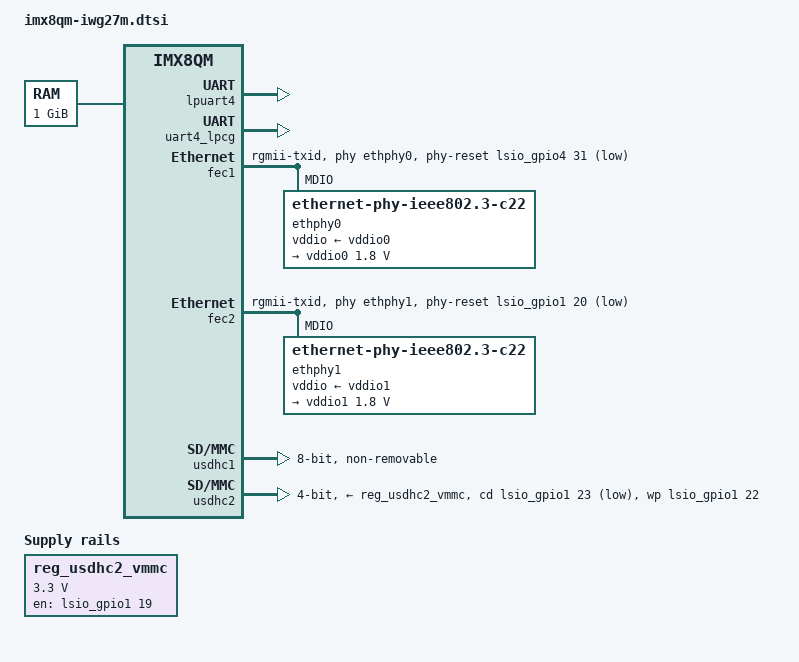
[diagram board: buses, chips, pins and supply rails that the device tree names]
// SPDX-License-Identifier: (GPL-2.0-or-later OR MIT)
/*
 * iWave iW-RainboW-G27M i.MX8QM SMARC SoM
 *
 * Copyright (c) 2024-25 iWave Systems Technologies Pvt. Ltd.
 * Copyright (c) 2026 Outsight
 */

/dts-v1/;

#include "imx8qm.dtsi"

/ {
	aliases {
		ethernet0 = &fec1;
		ethernet1 = &fec2;
		gpio0 = &lsio_gpio0;
		gpio1 = &lsio_gpio1;
		gpio2 = &lsio_gpio2;
		gpio3 = &lsio_gpio3;
		gpio4 = &lsio_gpio4;
		gpio5 = &lsio_gpio5;
		gpio6 = &lsio_gpio6;
		gpio7 = &lsio_gpio7;
		serial4 = &lpuart4;
	};

	chosen {
		stdout-path = &lpuart4;
	};

	/* Overwritten by U-Boot with the actual DRAM layout. */
	memory@80000000 {
		device_type = "memory";
		reg = <0x00000000 0x80000000 0 0x40000000>;
	};

	reg_usdhc2_vmmc: regulator-usdhc2-vmmc {
		compatible = "regulator-fixed";
		regulator-name = "SD1_SPWR";
		regulator-min-microvolt = <3300000>;
		regulator-max-microvolt = <3300000>;
		gpio = <&lsio_gpio1 19 GPIO_ACTIVE_HIGH>;
		off-on-delay-us = <4800>;
		enable-active-high;
	};
};

/* The debug console UART is not described by imx8qm.dtsi. */
&dma_subsys {
	lpuart4: serial@5a0a0000 {
		compatible = "fsl,imx8qm-lpuart", "fsl,imx8qxp-lpuart";
		reg = <0x5a0a0000 0x1000>;
		interrupts = <GIC_SPI 349 IRQ_TYPE_LEVEL_HIGH>;
		clocks = <&uart4_lpcg IMX_LPCG_CLK_4>,
			 <&uart4_lpcg IMX_LPCG_CLK_0>;
		clock-names = "ipg", "baud";
		assigned-clocks = <&clk IMX_SC_R_UART_4 IMX_SC_PM_CLK_PER>;
		assigned-clock-rates = <80000000>;
		power-domains = <&pd IMX_SC_R_UART_4>;
		status = "disabled";
	};

	uart4_lpcg: clock-controller@5a4a0000 {
		compatible = "fsl,imx8qxp-lpcg";
		reg = <0x5a4a0000 0x10000>;
		#clock-cells = <1>;
		clocks = <&clk IMX_SC_R_UART_4 IMX_SC_PM_CLK_PER>,
			 <&dma_ipg_clk>;
		clock-indices = <IMX_LPCG_CLK_0>, <IMX_LPCG_CLK_4>;
		clock-output-names = "uart4_lpcg_baud_clk",
				     "uart4_lpcg_ipg_clk";
		power-domains = <&pd IMX_SC_R_UART_4>;
	};
};

&fec1 {
	pinctrl-names = "default";
	pinctrl-0 = <&pinctrl_fec1>;
	phy-mode = "rgmii-txid";
	phy-handle = <&ethphy0>;
	phy-reset-gpios = <&lsio_gpio4 31 GPIO_ACTIVE_LOW>;
	phy-reset-duration = <10>;
	phy-reset-post-delay = <150>;
	rx-internal-delay-ps = <2000>;
	fsl,magic-packet;
	nvmem-cells = <&fec_mac0>;
	nvmem-cell-names = "mac-address";
	status = "okay";

	mdio {
		#address-cells = <1>;
		#size-cells = <0>;

		/* Atheros AR8031, address strapped differently across SoM revisions. */
		ethphy0: ethernet-phy {
			compatible = "ethernet-phy-ieee802.3-c22";
			qca,disable-smarteee;
			vddio-supply = <&vddio0>;

			vddio0: vddio-regulator {
				regulator-min-microvolt = <1800000>;
				regulator-max-microvolt = <1800000>;
			};
		};
	};
};

&fec2 {
	pinctrl-names = "default";
	pinctrl-0 = <&pinctrl_fec2>;
	phy-mode = "rgmii-txid";
	phy-handle = <&ethphy1>;
	phy-reset-gpios = <&lsio_gpio1 20 GPIO_ACTIVE_LOW>;
	phy-reset-duration = <10>;
	phy-reset-post-delay = <150>;
	rx-internal-delay-ps = <2000>;
	fsl,magic-packet;
	nvmem-cells = <&fec_mac1>;
	nvmem-cell-names = "mac-address";
	status = "okay";

	mdio {
		#address-cells = <1>;
		#size-cells = <0>;

		ethphy1: ethernet-phy {
			compatible = "ethernet-phy-ieee802.3-c22";
			qca,disable-smarteee;
			vddio-supply = <&vddio1>;

			vddio1: vddio-regulator {
				regulator-min-microvolt = <1800000>;
				regulator-max-microvolt = <1800000>;
			};
		};
	};
};

&lpuart4 {
	pinctrl-names = "default";
	pinctrl-0 = <&pinctrl_lpuart4>;
	status = "okay";
};

&usdhc1 {
	assigned-clocks = <&clk IMX_SC_R_SDHC_0 IMX_SC_PM_CLK_PER>;
	assigned-clock-rates = <400000000>;
	/* Without the 100/200 MHz states the driver refuses 1.8V modes (HS200/HS400). */
	pinctrl-names = "default", "state_100mhz", "state_200mhz";
	pinctrl-0 = <&pinctrl_usdhc1>;
	pinctrl-1 = <&pinctrl_usdhc1>;
	pinctrl-2 = <&pinctrl_usdhc1>;
	bus-width = <8>;
	no-sd;
	no-sdio;
	non-removable;
	status = "okay";
};

&usdhc2 {
	pinctrl-names = "default", "state_100mhz", "state_200mhz";
	pinctrl-0 = <&pinctrl_usdhc2>, <&pinctrl_usdhc2_gpio>;
	pinctrl-1 = <&pinctrl_usdhc2>, <&pinctrl_usdhc2_gpio>;
	pinctrl-2 = <&pinctrl_usdhc2>, <&pinctrl_usdhc2_gpio>;
	bus-width = <4>;
	vmmc-supply = <&reg_usdhc2_vmmc>;
	cd-gpios = <&lsio_gpio1 23 GPIO_ACTIVE_LOW>;
	wp-gpios = <&lsio_gpio1 22 GPIO_ACTIVE_HIGH>;
	status = "okay";
};

&iomuxc {
	pinctrl_fec1: fec1grp {
		fsl,pins = <
			IMX8QM_COMP_CTL_GPIO_1V8_3V3_ENET_ENETB_PAD		0x000014a0
			IMX8QM_ENET0_MDC_CONN_ENET0_MDC				0x06000020
			IMX8QM_ENET0_MDIO_CONN_ENET0_MDIO			0x06000020
			IMX8QM_ENET0_RGMII_TX_CTL_CONN_ENET0_RGMII_TX_CTL	0x06000020
			IMX8QM_ENET0_RGMII_TXC_CONN_ENET0_RGMII_TXC		0x06000020
			IMX8QM_ENET0_RGMII_TXD0_CONN_ENET0_RGMII_TXD0		0x06000020
			IMX8QM_ENET0_RGMII_TXD1_CONN_ENET0_RGMII_TXD1		0x06000020
			IMX8QM_ENET0_RGMII_TXD2_CONN_ENET0_RGMII_TXD2		0x06000020
			IMX8QM_ENET0_RGMII_TXD3_CONN_ENET0_RGMII_TXD3		0x06000020
			IMX8QM_ENET0_RGMII_RXC_CONN_ENET0_RGMII_RXC		0x06000020
			IMX8QM_ENET0_RGMII_RX_CTL_CONN_ENET0_RGMII_RX_CTL	0x06000020
			IMX8QM_ENET0_RGMII_RXD0_CONN_ENET0_RGMII_RXD0		0x06000020
			IMX8QM_ENET0_RGMII_RXD1_CONN_ENET0_RGMII_RXD1		0x06000020
			IMX8QM_ENET0_RGMII_RXD2_CONN_ENET0_RGMII_RXD2		0x06000020
			IMX8QM_ENET0_RGMII_RXD3_CONN_ENET0_RGMII_RXD3		0x06000020
			IMX8QM_PCIE_CTRL0_CLKREQ_B_LSIO_GPIO4_IO27		0x06000021
			IMX8QM_PCIE_CTRL1_CLKREQ_B_LSIO_GPIO4_IO30		0x06000021
			IMX8QM_PCIE_CTRL1_WAKE_B_LSIO_GPIO4_IO31		0x06000021
		>;
	};

	pinctrl_fec2: fec2grp {
		fsl,pins = <
			IMX8QM_ENET1_MDC_CONN_ENET1_MDC				0x06000020
			IMX8QM_ENET1_MDIO_CONN_ENET1_MDIO			0x06000020
			IMX8QM_COMP_CTL_GPIO_1V8_3V3_ENET_ENETA_PAD		0x000014a0
			IMX8QM_ENET1_RGMII_TX_CTL_CONN_ENET1_RGMII_TX_CTL	0x00000060
			IMX8QM_ENET1_RGMII_TXC_CONN_ENET1_RGMII_TXC		0x00000060
			IMX8QM_ENET1_RGMII_TXD0_CONN_ENET1_RGMII_TXD0		0x00000060
			IMX8QM_ENET1_RGMII_TXD1_CONN_ENET1_RGMII_TXD1		0x00000060
			IMX8QM_ENET1_RGMII_TXD2_CONN_ENET1_RGMII_TXD2		0x00000060
			IMX8QM_ENET1_RGMII_TXD3_CONN_ENET1_RGMII_TXD3		0x00000060
			IMX8QM_ENET1_RGMII_RXC_CONN_ENET1_RGMII_RXC		0x00000060
			IMX8QM_ENET1_RGMII_RX_CTL_CONN_ENET1_RGMII_RX_CTL	0x00000060
			IMX8QM_ENET1_RGMII_RXD0_CONN_ENET1_RGMII_RXD0		0x00000060
			IMX8QM_ENET1_RGMII_RXD1_CONN_ENET1_RGMII_RXD1		0x00000060
			IMX8QM_ENET1_RGMII_RXD2_CONN_ENET1_RGMII_RXD2		0x00000060
			IMX8QM_ENET1_RGMII_RXD3_CONN_ENET1_RGMII_RXD3		0x00000060
			IMX8QM_MIPI_DSI1_I2C0_SCL_LSIO_GPIO1_IO20		0x06000021
			IMX8QM_MIPI_DSI0_I2C0_SCL_LSIO_GPIO1_IO16		0x06000021
			IMX8QM_MIPI_DSI0_I2C0_SDA_LSIO_GPIO1_IO17		0x06000021
		>;
	};

	pinctrl_lpuart4: lpuart4grp {
		fsl,pins = <
			IMX8QM_M40_GPIO0_00_DMA_UART4_RX			0x06000020
			IMX8QM_M40_GPIO0_01_DMA_UART4_TX			0x06000020
		>;
	};

	pinctrl_usdhc1: usdhc1grp {
		fsl,pins = <
			IMX8QM_EMMC0_CLK_CONN_EMMC0_CLK				0x06000041
			IMX8QM_EMMC0_CMD_CONN_EMMC0_CMD				0x00000021
			IMX8QM_EMMC0_DATA0_CONN_EMMC0_DATA0			0x00000021
			IMX8QM_EMMC0_DATA1_CONN_EMMC0_DATA1			0x00000021
			IMX8QM_EMMC0_DATA2_CONN_EMMC0_DATA2			0x00000021
			IMX8QM_EMMC0_DATA3_CONN_EMMC0_DATA3			0x00000021
			IMX8QM_EMMC0_DATA4_CONN_EMMC0_DATA4			0x00000021
			IMX8QM_EMMC0_DATA5_CONN_EMMC0_DATA5			0x00000021
			IMX8QM_EMMC0_DATA6_CONN_EMMC0_DATA6			0x00000021
			IMX8QM_EMMC0_DATA7_CONN_EMMC0_DATA7			0x00000021
			IMX8QM_EMMC0_STROBE_CONN_EMMC0_STROBE			0x00000041
			IMX8QM_EMMC0_RESET_B_CONN_EMMC0_RESET_B			0x00000021
		>;
	};

	pinctrl_usdhc2_gpio: usdhc2gpiogrp {
		fsl,pins = <
			IMX8QM_MIPI_DSI1_GPIO0_00_LSIO_GPIO1_IO22		0x00000021
			IMX8QM_MIPI_DSI1_GPIO0_01_LSIO_GPIO1_IO23		0x00000021
			IMX8QM_MIPI_DSI0_GPIO0_01_LSIO_GPIO1_IO19		0x00000021
		>;
	};

	pinctrl_usdhc2: usdhc2grp {
		fsl,pins = <
			IMX8QM_USDHC1_CLK_CONN_USDHC1_CLK			0x06000041
			IMX8QM_USDHC1_CMD_CONN_USDHC1_CMD			0x00000021
			IMX8QM_USDHC1_DATA0_CONN_USDHC1_DATA0			0x00000021
			IMX8QM_USDHC1_DATA1_CONN_USDHC1_DATA1			0x00000021
			IMX8QM_USDHC1_DATA2_CONN_USDHC1_DATA2			0x00000021
			IMX8QM_USDHC1_DATA3_CONN_USDHC1_DATA3			0x00000021
			IMX8QM_USDHC1_VSELECT_CONN_USDHC1_VSELECT		0x00000021
		>;
	};
};
